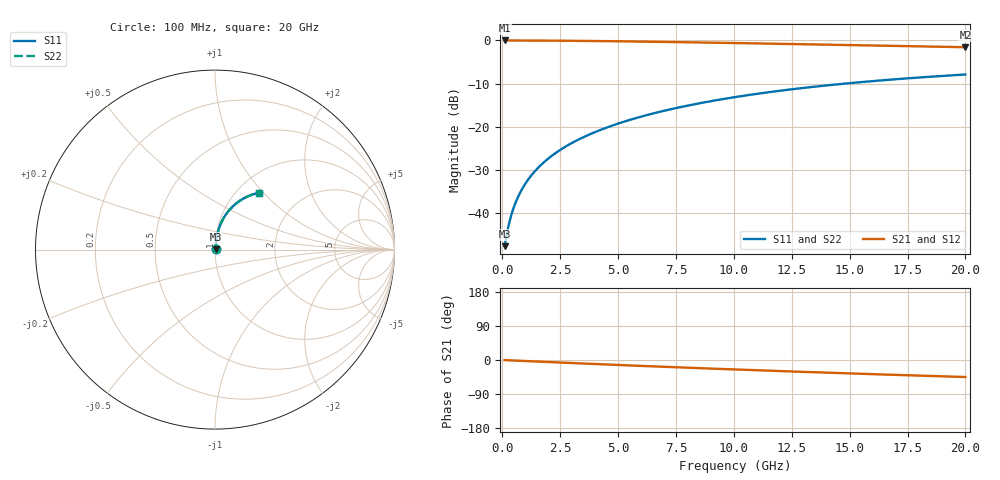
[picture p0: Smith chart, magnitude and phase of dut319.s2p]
! Touchstone file exported from HFSS 2024.1.0
!  File:  C:/UserFiles/LocalFiles/RDL_TSV_Batchsim/temp_RDL_top_319_1779606880.aedt
!  Generated:  03:17:05 PM May 24, 2026
!  Design:  RDL_top
!  Project:  temp_RDL_top_319_1779606880
!  Setup:  Setup1
!  Solution:  Sweep
! Variables:
!  dtsv = 10.80580581um
!  hbump = 3um
!  htsv = 88.03um
!  ldown = 100um
!  lrdl = 644.41um
!  p = 40
!  p1 = 46.69um
!  rhole = 1um
!  t = 450um
!  tdown = 3.915915916um
!  trdl = 3.61um
!  wdown = 15.38538539um
!  wrdl = 19.19um
# GHz S MA R 50.000000
! Terminal data exported
! Port[1] = Box2_T1
! Port[2] = Box2_T2
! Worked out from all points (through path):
!   200 points, 100 MHz to 20 GHz, reference 50 ohm
!   highest |S21| = -0.03 dB at 100 MHz (marker M1); lowest = -1.6 dB at 20 GHz (marker M2)
!   group delay of S21, straight-line fit = 6.21 ps
!   lowest |S11| = -47.6 dB at 100 MHz (marker M3), VSWR 1.01, Z = 50.3 + j0.237 ohm
!   |S11| at or under -10 dB: start of sweep to 14.8 GHz
!   |S22| runs from -47.6 to -7.9 dB; largest |S21 - S12| = 3.2e-15
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0.1  0.004177 34.3  0.9965 -0.3  0.9965 -0.3  0.004177 34.2
! Gamma 0 0 0 0
! Port Impedance 50 0 50 0
0.2  0.005869 52.1  0.9964 -0.6  0.9964 -0.6  0.005869 52.1
0.3  0.00781 61.1  0.9962 -0.8  0.9962 -0.8  0.00781 61.1
0.4  0.00981 66.3  0.996 -1.1  0.996 -1.1  0.00981 66.3
0.5  0.01183 69.8  0.9958 -1.4  0.9958 -1.4  0.01183 69.8
0.6  0.01386 72.3  0.9956 -1.6  0.9956 -1.6  0.01386 72.3
0.8  0.01797 75.6  0.9952 -2.2  0.9952 -2.2  0.01797 75.6
1.1  0.02422 78.5  0.9946 -3.0  0.9946 -3.0  0.02422 78.5
1.3  0.02843 79.6  0.9942 -3.5  0.9942 -3.5  0.02843 79.6
1.6  0.03479 80.8  0.9933 -4.3  0.9933 -4.3  0.03479 80.7
2.1  0.04548 81.7  0.9916 -5.6  0.9916 -5.6  0.04548 81.6
2.7  0.05843 82.0  0.9891 -7.2  0.9891 -7.2  0.05842 81.9
3.5  0.07587 81.7  0.9849 -9.3  0.9849 -9.3  0.07586 81.6
4.2  0.09128 81.1  0.9805 -11.1  0.9805 -11.1  0.09126 81.0
5  0.109 80.1  0.9749 -13.1  0.9749 -13.1  0.109 80.1
5.9  0.1291 78.9  0.968 -15.3  0.968 -15.3  0.129 78.8
6.8  0.1492 77.4  0.9604 -17.5  0.9604 -17.5  0.1491 77.4
8.4  0.1847 74.6  0.9461 -21.3  0.9461 -21.3  0.1846 74.5
10.1  0.2217 71.3  0.93 -25.1  0.93 -25.1  0.2216 71.2
13.4  0.2895 64.7  0.8974 -32.2  0.8974 -32.2  0.2893 64.6
16.7  0.3501 58.2  0.8645 -38.7  0.8645 -38.7  0.3498 58.2
20  0.4026 52.1  0.8323 -44.9  0.8323 -44.9  0.4023 52.0
